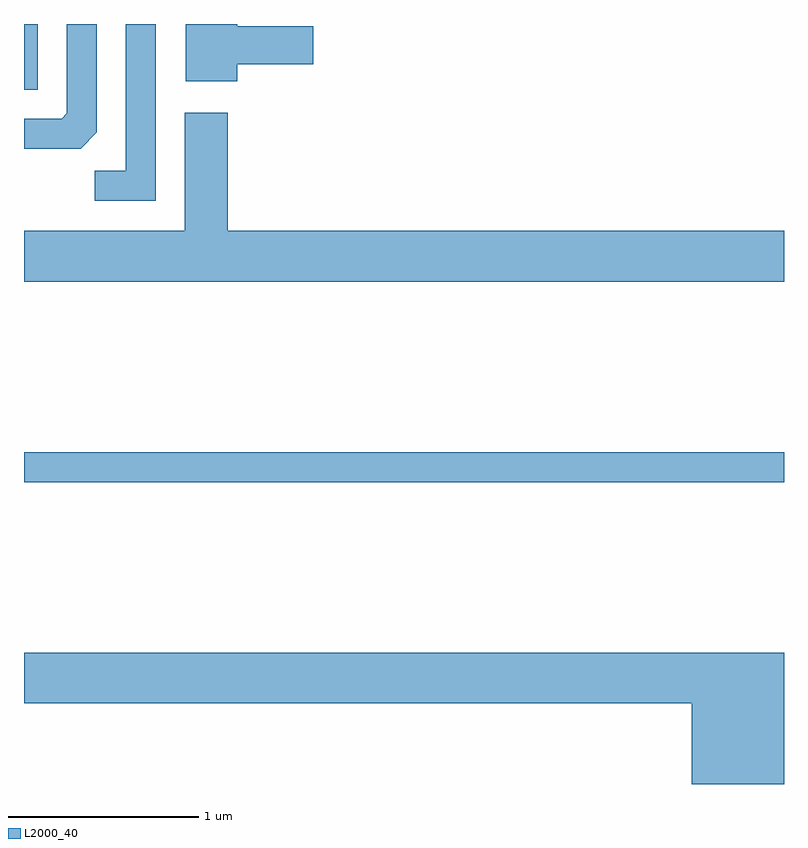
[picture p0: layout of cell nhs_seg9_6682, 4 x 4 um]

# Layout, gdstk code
import gdstk
lib = gdstk.Library(unit=1e-6, precision=1e-09)
def R(c, l, rs):  # rectangles x0, y0, x1, y1
    for r in rs: c.add(gdstk.rectangle(r[:2], r[2:], *l))
def P(c, l, *ps):  # polygons
    for p in ps: c.add(gdstk.Polygon(p, *l))
L2000_40 = (2000, 40)

nhs_seg9_6682 = lib.new_cell('nhs_seg9_6682')
R(nhs_seg9_6682, L2000_40, [(381.611,2064.021,385.611,2064.179), (381.611,2066.086,381.684,2066.432)])
P(nhs_seg9_6682, L2000_40, [(382.304,2066.432),(382.146,2066.432),(382.146,2065.659),(381.983,2065.659),(381.983,2065.501),(382.304,2065.501)],
  [(382.734,2066.221),(383.134,2066.221),(383.134,2066.419),(382.734,2066.419),(382.734,2066.432),(382.461,2066.432),(382.461,2066.131),(382.734,2066.131)],
  [(381.994,2065.862),(381.994,2066.432),(381.836,2066.432),(381.836,2065.962),(381.809,2065.934),(381.611,2065.934),(381.611,2065.776),(381.909,2065.776)],
  [(385.611,2065.344),(382.684,2065.344),(382.684,2065.964),(382.456,2065.964),(382.456,2065.344),(381.611,2065.344),(381.611,2065.076),(385.611,2065.076)],
  [(385.611,2063.124),(381.611,2063.124),(381.611,2062.856),(385.126,2062.856),(385.126,2062.432),(385.611,2062.432)])

lib.write_gds('nhs_seg9_6682.gds')
